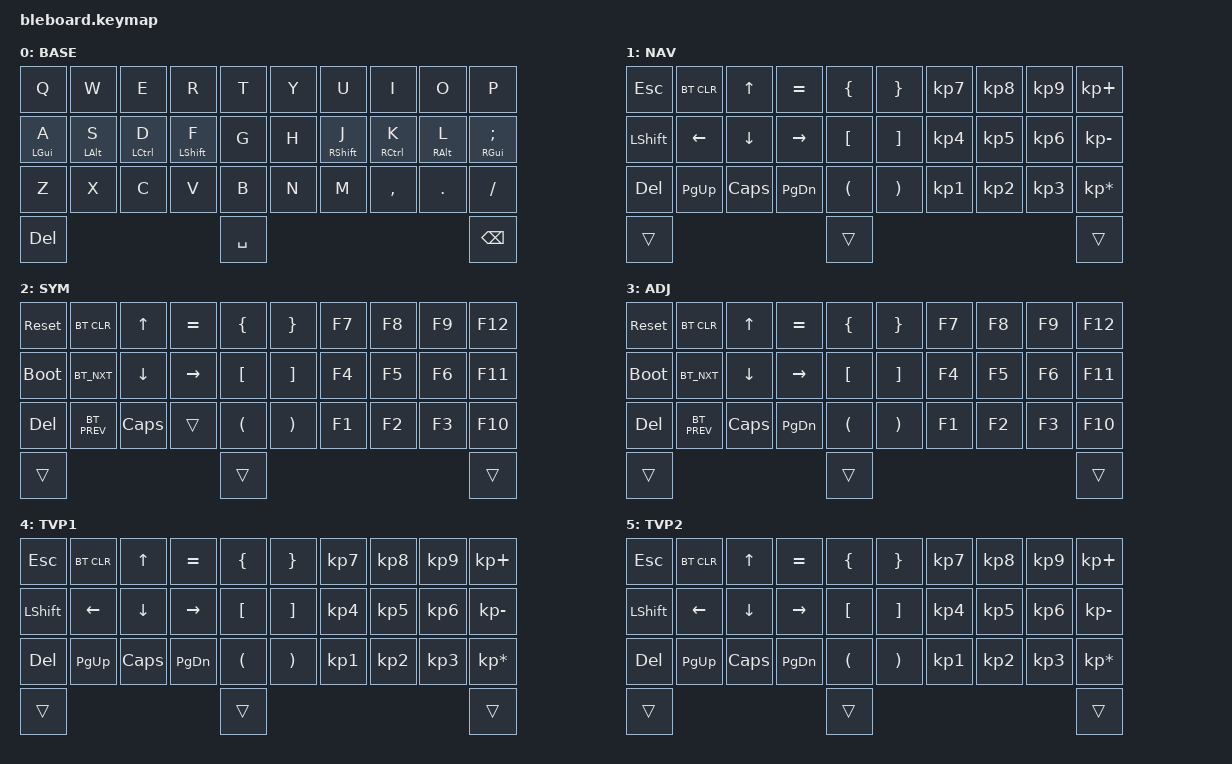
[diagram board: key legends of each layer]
#include <dt-bindings/zmk/keys.h>
#include <dt-bindings/zmk/bt.h>
#include <dt-bindings/zmk/outputs.h>
#include <dt-bindings/zmk/modifiers.h>
#include <dt-bindings/zmk/behaviors.h>

#define BASE 0
#define NAV  1
#define SYM  2
#define ADJ  3
#define TVP1 4
#define TVP2 5

&mt {
  quick-tap-ms = <100>;
  global-quick-tap;
  flavor = "tap-preferred";
  tapping-term-ms = <170>;
};

/ {
     combos {
            compatible = "zmk,combos";
            combo_esc {
                timeout-ms = <50>;
                key-positions = <0 1>;
                bindings = <&kp ESC>;
            };
            combo_tvp {
                timeout-ms = <100>;
                key-positions = <11 12 13>;
                bindings = <&tog TVP1>;
            };
    };

    macros {
        gif: gif {
            label = "giphy";
            compatible = "zmk,behavior-macro";
            #binding-cells = <0>;
            bindings
                = <&macro_press &kp LSHFT>
                , <&macro_tap &kp N2>
                , <&macro_release &kp LSHFT>
                , <&macro_tap &kp G &kp I &kp F>
                ;
        };
    };

        keymap {
                compatible = "zmk,keymap";
                base_layer {
                  label= "BASE";
                  bindings = <
    &kp Q       &kp W       &kp E       &kp R       &kp T       &kp Y       &kp U       &kp I       &kp O       &kp P
    &mt LGUI A  &mt LALT S  &mt LCTRL D &mt LSHFT F &kp G       &kp H       &mt RSHFT J &mt RCTRL K &mt RALT L  &mt RGUI SEMI
    &kp Z       &kp X       &kp C       &kp V       &kp B       &kp N       &kp M       &kp COMMA   &kp DOT     &kp FSLH
    &kp DEL                                         &kp SPACE                                                   &kp BSPC
                        >;
                };
                nav_layer {
                  label= "NAV";
                  bindings = <
    &kp ESC     &bt BT_CLR  &kp UP      &kp EQUAL   &kp LBRC    &kp RBRC    &kp KP_N7   &kp KP_N8   &kp KP_N9   &kp KP_PLUS
    &kp LSHFT   &kp LEFT    &kp DOWN    &kp RIGHT   &kp LBKT    &kp RBKT    &kp KP_N4   &kp KP_N5   &kp KP_N6   &kp KP_MINUS
    &kp DEL     &kp PG_UP   &kp CAPS    &kp PG_DN   &kp LPAR    &kp RPAR    &kp KP_N1   &kp KP_N2   &kp KP_N3   &kp KP_MULTIPLY
    &trans                                          &trans                                                      &trans
                        >;
                };
                sym_layer {
                  label= "SYM";
                  bindings = <
    &sys_reset  &bt BT_CLR  &kp UP      &kp EQUAL   &kp LBRC    &kp RBRC    &kp F7      &kp F8      &kp F9      &kp F12
    &bootloader &kp BT_NXT  &kp DOWN    &kp RIGHT   &kp LBKT    &kp RBKT    &kp F4      &kp F5      &kp F6      &kp F11
    &kp DEL     &kp BT_PREV &kp CAPS    &trans      &kp LPAR    &kp RPAR    &kp F1      &kp F2      &kp F3      &kp F10
    &trans                                          &trans                                                      &trans
                        >;
                };
                adjust_layer {
                  label= "ADJ";
                  bindings = <
    &sys_reset  &bt BT_CLR  &kp UP      &kp EQUAL   &kp LBRC    &kp RBRC    &kp F7      &kp F8      &kp F9      &kp F12
    &bootloader &kp BT_NXT  &kp DOWN    &kp RIGHT   &kp LBKT    &kp RBKT    &kp F4      &kp F5      &kp F6      &kp F11
    &kp DEL     &kp BT_PREV &kp CAPS    &kp PG_DN   &kp LPAR    &kp RPAR    &kp F1      &kp F2      &kp F3      &kp F10
    &trans                                          &trans                                                      &trans
                        >;
                };
                tvp1_layer {
                  label= "TVP1";
                  bindings = <
    &kp ESC     &bt BT_CLR  &kp UP      &kp EQUAL   &kp LBRC    &kp RBRC    &kp KP_N7   &kp KP_N8   &kp KP_N9   &kp KP_PLUS
    &kp LSHFT   &kp LEFT    &kp DOWN    &kp RIGHT   &kp LBKT    &kp RBKT    &kp KP_N4   &kp KP_N5   &kp KP_N6   &kp KP_MINUS
    &kp DEL     &kp PG_UP   &kp CAPS    &kp PG_DN   &kp LPAR    &kp RPAR    &kp KP_N1   &kp KP_N2   &kp KP_N3   &kp KP_MULTIPLY
    &trans                                          &trans                                                      &trans
                        >;
                };
                tvp2_layer {
                  label= "TVP2";
                  bindings = <
    &kp ESC     &bt BT_CLR  &kp UP      &kp EQUAL   &kp LBRC    &kp RBRC    &kp KP_N7   &kp KP_N8   &kp KP_N9   &kp KP_PLUS
    &kp LSHFT   &kp LEFT    &kp DOWN    &kp RIGHT   &kp LBKT    &kp RBKT    &kp KP_N4   &kp KP_N5   &kp KP_N6   &kp KP_MINUS
    &kp DEL     &kp PG_UP   &kp CAPS    &kp PG_DN   &kp LPAR    &kp RPAR    &kp KP_N1   &kp KP_N2   &kp KP_N3   &kp KP_MULTIPLY
    &trans                                          &trans                                                      &trans
                        >;
                };
        };
};
